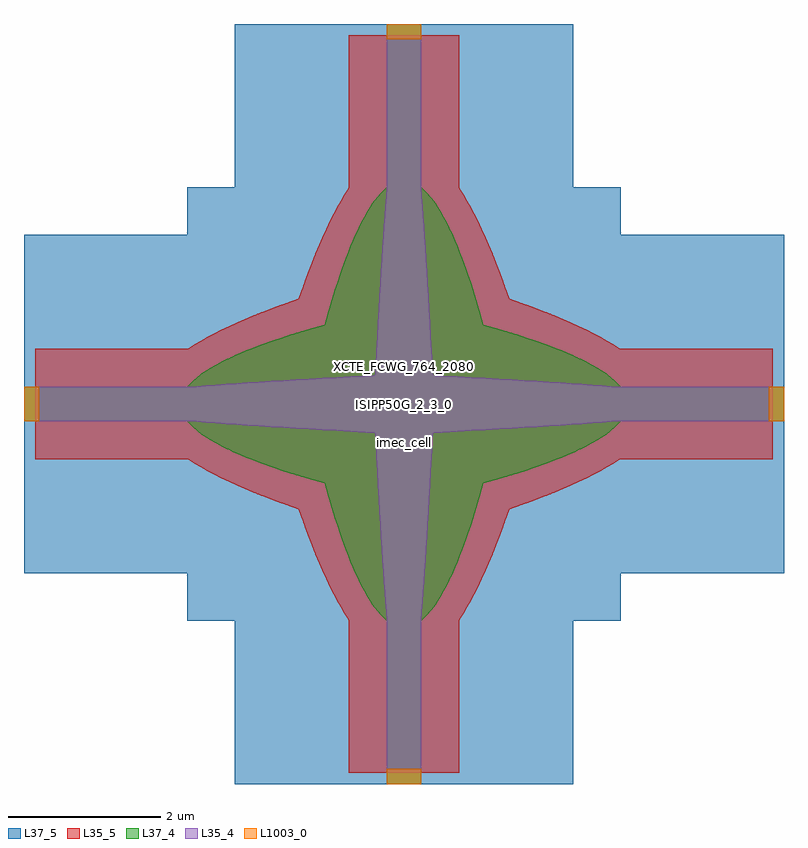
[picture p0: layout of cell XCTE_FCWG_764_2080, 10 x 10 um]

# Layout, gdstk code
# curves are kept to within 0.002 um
import gdstk
lib = gdstk.Library(unit=1e-6, precision=1e-09)
def R(c, l, rs):  # rectangles x0, y0, x1, y1
    for r in rs: c.add(gdstk.rectangle(r[:2], r[2:], *l))
def P(c, l, *ps):  # polygons
    for p in ps: c.add(gdstk.Polygon(p, *l))
L35_4 = (35, 4)
L35_5 = (35, 5)
L37_4 = (37, 4)
L37_5 = (37, 5)
L1003_0 = (1003, 0)

xcte_fcwg_764_2080 = lib.new_cell('XCTE_FCWG_764_2080')
R(xcte_fcwg_764_2080, L35_4, [(-0.225,-4.85,0.225,-2.85), (-4.85,-0.225,-2.85,0.225), (2.85,-0.225,4.85,0.225), (-0.225,2.85,0.225,4.85)])
P(xcte_fcwg_764_2080, L35_4, [(0,-0.4),(-0.885,-0.355),(-1.584,-0.315),(-2.199,-0.275),(-2.85,-0.225),(-2.85,0.225),(-2.199,0.275),(-1.584,0.315),(-0.885,0.355),(0,0.4)],
  [(0,-0.4),(0,0.4),(0.885,0.355),(1.584,0.315),(2.199,0.275),(2.85,0.225),(2.85,-0.225),(2.199,-0.275),(1.584,-0.315),(0.885,-0.355)],
  [(-0.4,0),(-0.355,0.885),(-0.315,1.584),(-0.275,2.199),(-0.225,2.85),(0.225,2.85),(0.275,2.199),(0.315,1.584),(0.355,0.885),(0.4,0)],
  [(-0.225,-2.85),(-0.275,-2.199),(-0.315,-1.584),(-0.355,-0.885),(-0.4,0),(0.4,0),(0.355,-0.885),(0.315,-1.584),(0.275,-2.199),(0.225,-2.85)])
R(xcte_fcwg_764_2080, L35_5, [(-0.725,-4.85,0.725,-2.85), (-4.85,-0.725,-2.85,0.725), (2.85,-0.725,4.85,0.725), (-0.725,2.85,0.725,4.85)])
P(xcte_fcwg_764_2080, L35_5, [(0,-1.8),(-0.421,-1.685),(-0.896,-1.545),(-1.3,-1.415),(-1.722,-1.265),(-1.903,-1.195),(-2.097,-1.115),(-2.404,-0.975),(-2.504,-0.925),(-2.67,-0.835),(-2.85,-0.725),(-2.85,0.725),(-2.67,0.835),(-2.58,0.885),(-2.404,0.975),(-2.097,1.115),(-1.928,1.185),(-1.722,1.265),(-1.359,1.395),(-0.896,1.545),(-0.421,1.685),(0,1.8)],
  [(0,-1.8),(0,1.8),(0.421,1.685),(0.896,1.545),(1.3,1.415),(1.722,1.265),(1.903,1.195),(2.097,1.115),(2.404,0.975),(2.504,0.925),(2.67,0.835),(2.85,0.725),(2.85,-0.725),(2.67,-0.835),(2.58,-0.885),(2.404,-0.975),(2.097,-1.115),(1.928,-1.185),(1.722,-1.265),(1.359,-1.395),(0.896,-1.545),(0.421,-1.685)],
  [(-1.8,0),(-1.685,0.421),(-1.545,0.896),(-1.415,1.3),(-1.265,1.722),(-1.195,1.903),(-1.115,2.097),(-0.975,2.404),(-0.925,2.504),(-0.835,2.67),(-0.725,2.85),(0.725,2.85),(0.835,2.67),(0.885,2.58),(0.975,2.404),(1.115,2.097),(1.185,1.928),(1.265,1.722),(1.395,1.359),(1.545,0.896),(1.685,0.421),(1.8,0)],
  [(-0.725,-2.85),(-0.835,-2.67),(-0.885,-2.58),(-0.975,-2.404),(-1.115,-2.097),(-1.185,-1.928),(-1.265,-1.722),(-1.395,-1.359),(-1.545,-0.896),(-1.685,-0.421),(-1.8,0),(1.8,0),(1.685,-0.421),(1.545,-0.896),(1.415,-1.3),(1.265,-1.722),(1.195,-1.903),(1.115,-2.097),(0.975,-2.404),(0.925,-2.504),(0.835,-2.67),(0.725,-2.85)])
R(xcte_fcwg_764_2080, L37_4, [(-0.225,-5,0.225,-4.85), (-0.225,-4.85,0.225,-2.85), (-5,-0.225,-4.85,0.225), (-4.85,-0.225,2.85,0.225), (2.85,-0.225,4.85,0.225), (4.85,-0.225,5,0.225), (-0.225,2.85,0.225,4.85), (-0.225,4.85,0.225,5)])
P(xcte_fcwg_764_2080, L37_4, [(0,-1.3),(-0.372,-1.215),(-0.777,-1.115),(-1.112,-1.025),(-1.451,-0.925),(-1.755,-0.825),(-1.999,-0.735),(-2.215,-0.645),(-2.422,-0.545),(-2.546,-0.475),(-2.639,-0.415),(-2.694,-0.375),(-2.787,-0.295),(-2.85,-0.225),(-2.85,0.225),(-2.787,0.295),(-2.694,0.375),(-2.594,0.445),(-2.495,0.505),(-2.403,0.555),(-2.215,0.645),(-2.074,0.705),(-1.921,0.765),(-1.697,0.845),(-1.483,0.915),(-1.112,1.025),(-0.854,1.095),(-0.579,1.165),(0,1.3)],
  [(0,-1.3),(0,1.3),(0.579,1.165),(0.854,1.095),(1.112,1.025),(1.483,0.915),(1.697,0.845),(1.921,0.765),(2.074,0.705),(2.215,0.645),(2.323,0.595),(2.495,0.505),(2.594,0.445),(2.694,0.375),(2.787,0.295),(2.85,0.225),(2.85,-0.225),(2.787,-0.295),(2.694,-0.375),(2.594,-0.445),(2.495,-0.505),(2.422,-0.545),(2.215,-0.645),(1.999,-0.735),(1.755,-0.825),(1.451,-0.925),(1.112,-1.025),(0.777,-1.115),(0.414,-1.205)],
  [(-1.3,0),(-1.215,0.372),(-1.115,0.777),(-1.025,1.112),(-0.925,1.451),(-0.825,1.755),(-0.735,1.999),(-0.645,2.215),(-0.545,2.422),(-0.475,2.546),(-0.415,2.639),(-0.375,2.694),(-0.295,2.787),(-0.225,2.85),(0.225,2.85),(0.295,2.787),(0.375,2.694),(0.445,2.594),(0.505,2.495),(0.555,2.403),(0.645,2.215),(0.705,2.074),(0.765,1.921),(0.845,1.697),(0.915,1.483),(1.025,1.112),(1.095,0.854),(1.165,0.579),(1.3,0)],
  [(-0.225,-2.85),(-0.295,-2.787),(-0.375,-2.694),(-0.445,-2.594),(-0.505,-2.495),(-0.555,-2.403),(-0.645,-2.215),(-0.705,-2.074),(-0.765,-1.921),(-0.845,-1.697),(-0.915,-1.483),(-1.025,-1.112),(-1.095,-0.854),(-1.165,-0.579),(-1.3,0),(1.3,0),(1.215,-0.372),(1.115,-0.777),(1.025,-1.112),(0.925,-1.451),(0.825,-1.755),(0.735,-1.999),(0.645,-2.215),(0.545,-2.422),(0.475,-2.546),(0.415,-2.639),(0.375,-2.694),(0.295,-2.787),(0.225,-2.85)])
R(xcte_fcwg_764_2080, L37_5, [(-2.225,-5,2.225,-4.85), (-2.225,-4.85,2.225,4.85), (-2.85,-2.85,2.85,2.85), (-5,-2.225,-4.85,2.225), (-4.85,-2.225,4.85,2.225), (4.85,-2.225,5,2.225), (-2.225,4.85,2.225,5)])
R(xcte_fcwg_764_2080, L1003_0, [(-0.225,-5,0.225,-4.85), (-0.225,-4.85,0.225,-4.8), (-5,-0.225,-4.85,0.225), (-4.85,-0.225,-4.8,0.225), (4.8,-0.225,4.85,0.225), (4.85,-0.225,5,0.225), (-0.225,4.8,0.225,4.85), (-0.225,4.85,0.225,5)])
xcte_fcwg_764_2080.add(gdstk.Label('XCTE_FCWG_764_2080', (0,0.5), layer=1002, texttype=0))
xcte_fcwg_764_2080.add(gdstk.Label('ISIPP50G_2_3_0', (0,0), layer=1002, texttype=0))
xcte_fcwg_764_2080.add(gdstk.Label('imec_cell', (0,-0.5), layer=1002, texttype=0))

lib.write_gds('XCTE_FCWG_764_2080.gds')
